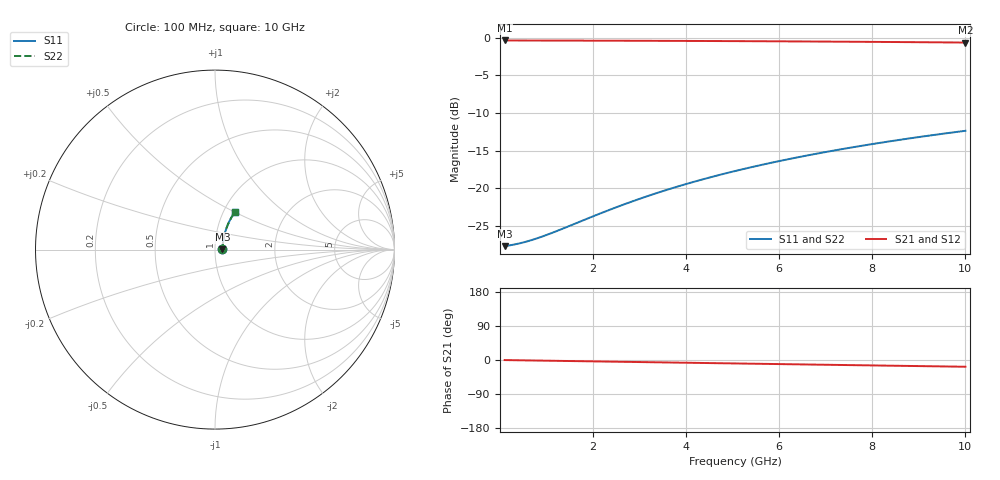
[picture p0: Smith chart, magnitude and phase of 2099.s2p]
# Hz S RI R 50.00
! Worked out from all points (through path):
!   100 points, 100 MHz to 10 GHz, reference 50 ohm
!   highest |S21| = -0.36 dB at 100 MHz (marker M1); lowest = -0.6 dB at 10 GHz (marker M2)
!   group delay of S21, straight-line fit = 4.95 ps
!   lowest |S11| = -27.7 dB at 100 MHz (marker M3), VSWR 1.09, Z = 54.3 + j0.252 ohm
!   |S11| at or under -10 dB: start of sweep to end of sweep
!   |S22| runs from -27.7 to -12.4 dB; largest |S21 - S12| = 0
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1e8  0.041 0.00232  0.959 -0.00303  0.959 -0.00303  0.041 0.00232
4e8  0.0418 0.00927  0.9582 -0.0121  0.9582 -0.0121  0.0418 0.00927
6e8  0.0421 0.0139  0.9578 -0.0182  0.9578 -0.0182  0.0421 0.0139
8e8  0.0425 0.0185  0.9574 -0.0242  0.9574 -0.0242  0.0425 0.0185
1e9  0.043 0.0231  0.957 -0.0302  0.957 -0.0302  0.043 0.0231
1.2e9  0.0434 0.0277  0.9565 -0.0363  0.9565 -0.0363  0.0434 0.0277
1.8e9  0.0451 0.0415  0.9548 -0.0543  0.9548 -0.0543  0.0451 0.0415
2.2e9  0.0464 0.0506  0.9534 -0.0663  0.9534 -0.0663  0.0464 0.0506
2.6e9  0.048 0.0597  0.9518 -0.0782  0.9518 -0.0782  0.048 0.0597
3e9  0.0497 0.0688  0.95 -0.0901  0.95 -0.0901  0.0497 0.0688
3.4e9  0.0517 0.0778  0.948 -0.1019  0.948 -0.1019  0.0517 0.0778
3.8e9  0.0539 0.0867  0.9457 -0.1137  0.9457 -0.1137  0.0539 0.0867
4.2e9  0.0563 0.0955  0.9433 -0.1254  0.9433 -0.1254  0.0563 0.0955
4.6e9  0.0589 0.1043  0.9406 -0.137  0.9406 -0.137  0.0589 0.1043
5.1e9  0.0624 0.1151  0.9369 -0.1515  0.9369 -0.1515  0.0624 0.1151
5.5e9  0.0655 0.1237  0.9337 -0.1629  0.9337 -0.1629  0.0655 0.1237
5.9e9  0.0688 0.1322  0.9303 -0.1742  0.9303 -0.1742  0.0688 0.1322
6.7e9  0.0759 0.1488  0.9229 -0.1966  0.9229 -0.1966  0.0759 0.1488
7.5e9  0.0838 0.165  0.9147 -0.2185  0.9147 -0.2185  0.0838 0.165
8.4e9  0.0936 0.1826  0.9045 -0.2426  0.9045 -0.2426  0.0936 0.1826
9.2e9  0.103 0.1977  0.8947 -0.2634  0.8947 -0.2634  0.103 0.1977
1e10  0.1131 0.2122  0.8843 -0.2837  0.8843 -0.2837  0.1131 0.2122
